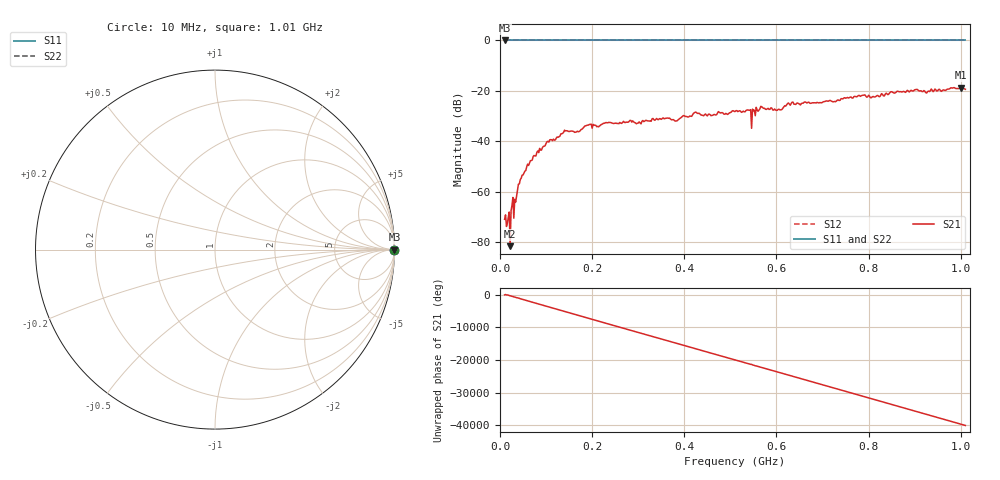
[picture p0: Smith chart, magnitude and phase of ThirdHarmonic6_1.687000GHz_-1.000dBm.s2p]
! 8/16/2025 8:15:31 PM
! C:\ANRITSUVNA\TEMP\TEMP.S2P
! CHANNEL.1
! TR.MEASUREMENT
! RAW.DATA
! RF.CORRECTION.OFF
! AVERAGING.OFF
! IF.BANDWIDTH: 5KHZ
! SWEEPTYPE:  FREQ.SWEEP(Linear)
! Reference Plane Port Info
! PORT:  PORT1  PORT2
! DISTANCE:  0  m  0  m
! TIME:  0  s  0  s
! PHASE.OFFSET:  0  deg.  0  deg.
! LOSS:  0  dB  0  dB
! REF.LOSS:  0  dB  0  dB
! REF.FREQ:  0  Hz  0  Hz
! Power Info
! POWER:  -20  dBm  -20  dBm
! EFF.POWER:  -20  dBm  -20  dBm
! SOURCE.ATTEN:  0  dB  0  dB
! TEST.ATTEN:  0  dB  0  dB
# GHZ S RI R 50.0
! FREQ.GHZ  S11RE  S11IM  S21RE  S21IM  S12RE  S12IM  S22RE  S22IM
!; PortSelection: Port_12
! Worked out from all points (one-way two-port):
!   501 points, 10 MHz to 1.01 GHz, reference 50 ohm
!   highest |S21| = -18.71 dB at 1 GHz (marker M1); lowest = -81.6 dB at 22 MHz (marker M2)
!   lowest |S11| = 0.0 dB at 10 MHz (marker M3)
!   |S11| at or under -10 dB: nowhere
!   |S22| runs from 0.0 to 0.0 dB; largest |S21 - S12| = 1.1
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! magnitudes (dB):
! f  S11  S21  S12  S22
! 10 MHz  0.0  -71.0  0.0  0.0
! 16 MHz  0.0  -72.5  0.0  0.0
! 18 MHz  0.0  -70.1  0.0  0.0
! 22 MHz  0.0  -81.6  0.0  0.0
! 34 MHz  0.0  -64.1  0.0  0.0
! 44 MHz  0.0  -55.2  0.0  0.0
! 70 MHz  0.0  -47.4  0.0  0.0
! 104 MHz  0.0  -40.0  0.0  0.0
! 140 MHz  0.0  -35.6  0.0  0.0
! 178 MHz  0.0  -35.2  0.0  0.0
! 344 MHz  0.0  -31.4  0.0  0.0
! 382 MHz  0.0  -31.9  0.0  0.0
! 510 MHz  0.0  -28.2  0.0  0.0
! 540 MHz  0.0  -27.7  0.0  0.0
! 550 MHz  0.0  -27.9  0.0  0.0
! 568 MHz  0.0  -26.3  0.0  0.0
! 604 MHz  0.0  -27.3  0.0  0.0
! 630 MHz  0.0  -25.7  0.0  0.0
! 678 MHz  0.0  -24.7  0.0  0.0
! 844 MHz  0.0  -21.2  0.0  0.0
! 1 GHz  0.0  -18.7  0.0  0.0
! 1.01 GHz  0.0  -19.4  0.0  0.0
